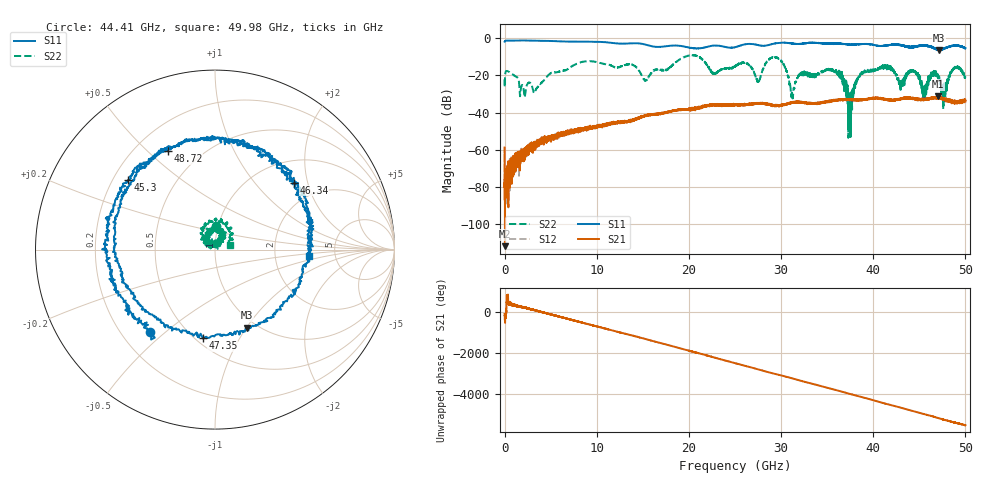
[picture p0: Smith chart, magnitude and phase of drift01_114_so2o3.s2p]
!Created with skrf (http://scikit-rf.org).
# Hz S RI R 50.0
!freq ReS11 ImS11 ReS21 ImS21 ReS12 ImS12 ReS22 ImS22
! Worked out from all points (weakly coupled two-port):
!   10001 points, 300 kHz to 50 GHz, reference 50 ohm
!   highest |S21| = -31.32 dB at 47.07 GHz (marker M1); lowest = -111.7 dB at 35.3 MHz (marker M2)
!   lowest |S11| = -6.6 dB at 47.15 GHz (marker M3), VSWR 2.77, Z = 45 - j50.2 ohm
!   |S11| at or under -10 dB: nowhere
!   |S22| runs from -53.6 to -9.2 dB; largest |S21 - S12| = 0.0045
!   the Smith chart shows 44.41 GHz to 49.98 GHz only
!   S11 on the Smith chart (normalised r, x): 44.41 GHz: 0.32, -0.44; 45.3 GHz: 0.26, +0.33; 46.34 GHz: 1.47, +1.64; 47.35 GHz: 0.54, -0.71; 48.72 GHz: 0.33, +0.58; 49.98 GHz: 3.19, -0.32
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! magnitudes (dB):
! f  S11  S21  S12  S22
! 300 kHz  -2.1  -58.8  -62.2  -22.1
! 35.3 MHz  -1.8  -111.7  -75.5  -21.7
! 3.29 GHz  -1.5  -55.6  -55.8  -28.8
! 8.335 GHz  -1.9  -50.0  -48.4  -12.9
! 16.67 GHz  -4.8  -41.0  -40.7  -16.6
! 25 GHz  -5.0  -35.8  -35.9  -15.4
! 29.59 GHz  -2.8  -36.3  -36.2  -10.6
! 31.24 GHz  -3.0  -34.5  -34.6  -32.3
! 33.34 GHz  -2.6  -35.1  -35.0  -20.5
! 36.08 GHz  -2.9  -33.2  -33.4  -18.0
! 37.47 GHz  -3.6  -33.2  -33.1  -32.1
! 38.66 GHz  -3.3  -33.4  -33.3  -19.9
! 41.67 GHz  -3.9  -33.1  -33.3  -16.4
! 44.41 GHz  -4.7  -32.4  -32.6  -17.8
! 45.3 GHz  -4.1  -33.1  -33.1  -25.9
! 46.34 GHz  -4.8  -32.6  -32.6  -20.4
! 47.07 GHz  -6.4  -31.3  -31.8  -22.0
! 47.15 GHz  -6.6  -32.2  -32.2  -20.7
! 47.35 GHz  -6.0  -32.5  -32.1  -25.0
! 48.72 GHz  -4.3  -34.1  -33.7  -16.1
! 49.98 GHz  -5.6  -33.5  -32.8  -21.4
! 50 GHz  -5.5  -34.1  -33.4  -21.5
